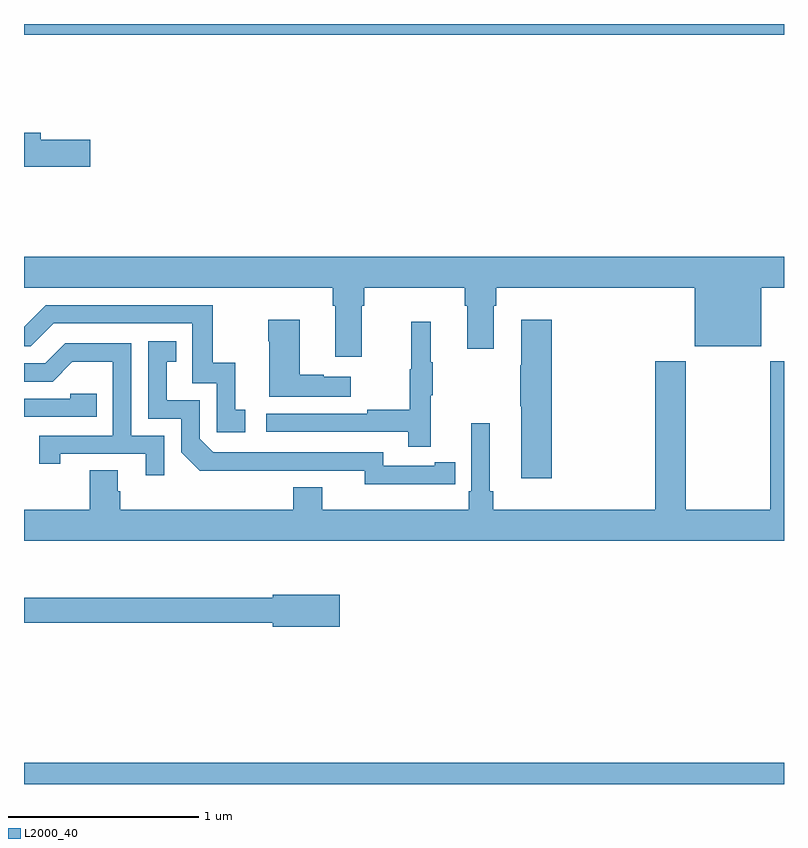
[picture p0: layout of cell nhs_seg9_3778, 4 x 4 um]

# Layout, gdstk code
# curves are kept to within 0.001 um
import gdstk
lib = gdstk.Library(unit=1e-6, precision=1e-09)
def R(c, l, rs):  # rectangles x0, y0, x1, y1
    for r in rs: c.add(gdstk.rectangle(r[:2], r[2:], *l))
def P(c, l, *ps):  # polygons
    for p in ps: c.add(gdstk.Polygon(p, *l))
L2000_40 = (2000, 40)

nhs_seg9_3778 = lib.new_cell('nhs_seg9_3778')
R(nhs_seg9_3778, L2000_40, [(327,1168.5,331,1168.612), (327,1172.444,331,1172.5)])
P(nhs_seg9_3778, L2000_40, [(327.349,1171.892),(327.088,1171.892),(327.088,1171.928),(327,1171.928),(327,1171.75),(327.349,1171.75)],
  [(328.777,1171.016),(328.79,1171.016),(328.79,1171.112),(329.321,1171.112),(329.321,1171.016),(329.333,1171.016),(329.333,1170.792),(329.473,1170.792),(329.473,1171.016),(329.486,1171.016),(329.486,1171.112),(330.53,1171.112),(330.53,1170.803),(330.88,1170.803),(330.88,1171.112),(331,1171.112),(331,1171.276),(327,1171.276),(327,1171.112),(328.625,1171.112),(328.625,1171.016),(328.637,1171.016),(328.637,1170.75),(328.777,1170.75)],
  [(328.165,1170.471),(328.112,1170.471),(328.112,1170.718),(327.994,1170.718),(327.994,1171.02),(327.114,1171.02),(327,1170.906),(327,1170.804),(327.036,1170.804),(327.156,1170.924),(327.885,1170.924),(327.885,1170.609),(328.014,1170.609),(328.014,1170.351),(328.165,1170.351)],
  [(329.777,1170.943),(329.618,1170.943),(329.618,1170.704),(329.611,1170.704),(329.611,1170.487),(329.618,1170.487),(329.618,1170.108),(329.777,1170.108)],
  [(328.72,1170.643),(328.577,1170.643),(328.577,1170.653),(328.45,1170.653),(328.45,1170.943),(328.285,1170.943),(328.285,1170.83),(328.292,1170.83),(328.292,1170.539),(328.72,1170.539)],
  [(329.141,1170.547),(329.152,1170.547),(329.152,1170.721),(329.141,1170.721),(329.141,1170.934),(329.038,1170.934),(329.038,1170.684),(329.031,1170.684),(329.031,1170.47),(328.807,1170.47),(328.807,1170.45),(328.275,1170.45),(328.275,1170.354),(329.023,1170.354),(329.023,1170.276),(329.141,1170.276)],
  [(329.162,1170.078),(329.27,1170.078),(329.27,1170.194),(329.162,1170.194),(329.162,1170.174),(328.89,1170.174),(328.89,1170.246),(327.996,1170.246),(327.924,1170.318),(327.924,1170.519),(327.751,1170.519),(327.751,1170.723),(327.8,1170.723),(327.8,1170.829),(327.654,1170.829),(327.654,1170.423),(327.828,1170.423),(327.828,1170.246),(327.926,1170.149),(328.794,1170.15),(328.794,1170.077)],
  [(327.738,1170.333),(327.564,1170.333),(327.564,1170.819),(327.218,1170.819),(327.113,1170.714),(327,1170.714),(327,1170.618),(327.15,1170.618),(327.254,1170.722),(327.468,1170.722),(327.468,1170.333),(327.079,1170.333),(327.079,1170.186),(327.19,1170.186),(327.19,1170.237),(327.641,1170.237),(327.641,1170.126),(327.738,1170.126)],
  [(331,1170.724),(330.928,1170.724),(330.928,1169.944),(330.483,1169.944),(330.483,1170.724),(330.323,1170.724),(330.323,1169.944),(329.471,1169.944),(329.471,1170.04),(329.452,1170.04),(329.452,1170.4),(329.355,1170.4),(329.355,1170.04),(329.342,1170.04),(329.342,1169.944),(328.57,1169.944),(328.57,1170.061),(328.418,1170.061),(328.418,1169.944),(327.506,1169.944),(327.506,1170.042),(327.493,1170.042),(327.493,1170.152),(327.346,1170.152),(327.346,1169.944),(327,1169.944),(327,1169.78),(331,1169.78)],
  [(327.383,1170.555),(327.243,1170.555),(327.243,1170.528),(327,1170.528),(327,1170.432),(327.383,1170.432)],
  [(328.663,1169.497),(328.31,1169.497),(328.31,1169.479),(327,1169.479),(327,1169.35),(328.31,1169.35),(328.31,1169.327),(328.663,1169.327)])

lib.write_gds('nhs_seg9_3778.gds')
